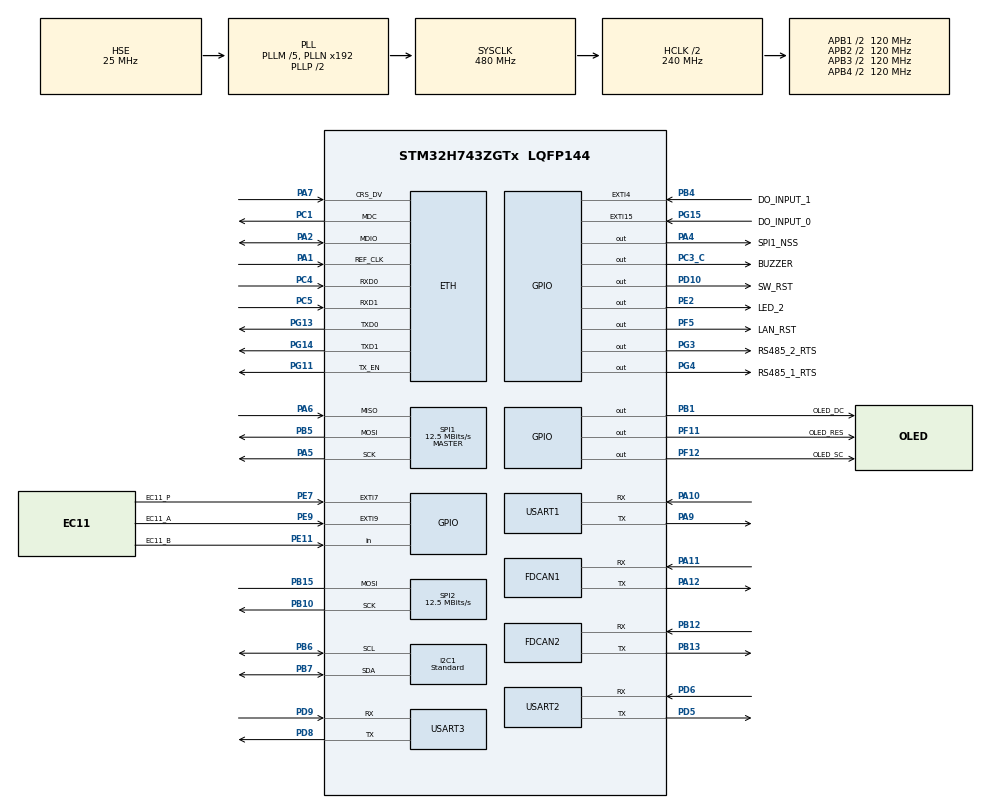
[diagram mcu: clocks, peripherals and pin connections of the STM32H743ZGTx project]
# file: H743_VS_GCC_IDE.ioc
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CORTEX_M7.AccessPermission_S-Cortex_Memory_Protection_Unit_Region1_Settings_S=MPU_REGION_FULL_ACCESS
CORTEX_M7.AccessPermission_S-Cortex_Memory_Protection_Unit_Region2_Settings_S=MPU_REGION_FULL_ACCESS
CORTEX_M7.AccessPermission_S-Cortex_Memory_Protection_Unit_Region3_Settings_S=MPU_REGION_FULL_ACCESS
CORTEX_M7.AccessPermission_S-Cortex_Memory_Protection_Unit_Region4_Settings_S=MPU_REGION_FULL_ACCESS
CORTEX_M7.AccessPermission_Spec=MPU_REGION_FULL_ACCESS
CORTEX_M7.BaseAddress_S-Cortex_Memory_Protection_Unit_Region1_Settings_S=0x30000000
CORTEX_M7.BaseAddress_S-Cortex_Memory_Protection_Unit_Region2_Settings_S=0x30004000
CORTEX_M7.BaseAddress_S-Cortex_Memory_Protection_Unit_Region3_Settings_S=0x38800000
CORTEX_M7.BaseAddress_S-Cortex_Memory_Protection_Unit_Region4_Settings_S=0x38000000
CORTEX_M7.BaseAddress_Spec=0x24000000
CORTEX_M7.CPU_DCache=Enabled
CORTEX_M7.CPU_ICache=Enabled
CORTEX_M7.DisableExec_S-Cortex_Memory_Protection_Unit_Region1_Settings_S=MPU_INSTRUCTION_ACCESS_DISABLE
CORTEX_M7.DisableExec_S-Cortex_Memory_Protection_Unit_Region2_Settings_S=MPU_INSTRUCTION_ACCESS_ENABLE
CORTEX_M7.DisableExec_Spec=MPU_INSTRUCTION_ACCESS_ENABLE
CORTEX_M7.Enable_S-Cortex_Memory_Protection_Unit_Region1_Settings_S=MPU_REGION_ENABLE
CORTEX_M7.Enable_S-Cortex_Memory_Protection_Unit_Region2_Settings_S=MPU_REGION_ENABLE
CORTEX_M7.Enable_S-Cortex_Memory_Protection_Unit_Region3_Settings_S=MPU_REGION_ENABLE
CORTEX_M7.Enable_S-Cortex_Memory_Protection_Unit_Region4_Settings_S=MPU_REGION_ENABLE
CORTEX_M7.Enable_S-Cortex_Memory_Protection_Unit_Region5_Settings_S=__NULL
CORTEX_M7.IsBufferable_S-Cortex_Memory_Protection_Unit_Region1_Settings_S=MPU_ACCESS_BUFFERABLE
CORTEX_M7.IsBufferable_S-Cortex_Memory_Protection_Unit_Region2_Settings_S=MPU_ACCESS_NOT_BUFFERABLE
CORTEX_M7.IsBufferable_S-Cortex_Memory_Protection_Unit_Region4_Settings_S=MPU_ACCESS_NOT_BUFFERABLE
CORTEX_M7.IsBufferable_Spec=MPU_ACCESS_NOT_BUFFERABLE
CORTEX_M7.IsCacheable_S-Cortex_Memory_Protection_Unit_Region2_Settings_S=MPU_ACCESS_CACHEABLE
CORTEX_M7.IsCacheable_S-Cortex_Memory_Protection_Unit_Region4_Settings_S=MPU_ACCESS_CACHEABLE
CORTEX_M7.IsCacheable_Spec=MPU_ACCESS_CACHEABLE
CORTEX_M7.IsShareable_S-Cortex_Memory_Protection_Unit_Region1_Settings_S=MPU_ACCESS_SHAREABLE
CORTEX_M7.IsShareable_S-Cortex_Memory_Protection_Unit_Region2_Settings_S=MPU_ACCESS_NOT_SHAREABLE
CORTEX_M7.IsShareable_S-Cortex_Memory_Protection_Unit_Region4_Settings_S=MPU_ACCESS_SHAREABLE
CORTEX_M7.IsShareable_Spec=MPU_ACCESS_NOT_SHAREABLE
CORTEX_M7.Size_S-Cortex_Memory_Protection_Unit_Region1_Settings_S=MPU_REGION_SIZE_256B
CORTEX_M7.Size_S-Cortex_Memory_Protection_Unit_Region2_Settings_S=MPU_REGION_SIZE_64KB
CORTEX_M7.Size_S-Cortex_Memory_Protection_Unit_Region3_Settings_S=MPU_REGION_SIZE_4KB
CORTEX_M7.Size_S-Cortex_Memory_Protection_Unit_Region4_Settings_S=MPU_REGION_SIZE_64KB
CORTEX_M7.Size_Spec=MPU_REGION_SIZE_512KB
CORTEX_M7.SubRegionDisable_Spec=0x00
CORTEX_M7.TypeExtField_S-Cortex_Memory_Protection_Unit_Region2_Settings_S=MPU_TEX_LEVEL1
CORTEX_M7.default_mode_Activation=1
Dma.I2C1_TX.0.Direction=DMA_MEMORY_TO_PERIPH
Dma.I2C1_TX.0.EventEnable=DISABLE
Dma.I2C1_TX.0.FIFOMode=DMA_FIFOMODE_DISABLE
Dma.I2C1_TX.0.Instance=DMA1_Stream3
Dma.I2C1_TX.0.MemDataAlignment=DMA_MDATAALIGN_BYTE
Dma.I2C1_TX.0.MemInc=DMA_MINC_ENABLE
Dma.I2C1_TX.0.Mode=DMA_NORMAL
Dma.I2C1_TX.0.PeriphDataAlignment=DMA_PDATAALIGN_BYTE
Dma.I2C1_TX.0.PeriphInc=DMA_PINC_DISABLE
Dma.I2C1_TX.0.Polarity=HAL_DMAMUX_REQ_GEN_RISING
Dma.I2C1_TX.0.Priority=DMA_PRIORITY_LOW
Dma.I2C1_TX.0.RequestNumber=1
Dma.I2C1_TX.0.SignalID=NONE
Dma.I2C1_TX.0.SyncEnable=DISABLE
Dma.I2C1_TX.0.SyncPolarity=HAL_DMAMUX_SYNC_NO_EVENT
Dma.I2C1_TX.0.SyncRequestNumber=1
Dma.I2C1_TX.0.SyncSignalID=NONE
Dma.Request0=I2C1_TX
Dma.Request1=USART2_RX
Dma.Request2=USART2_TX
Dma.Request3=USART1_RX
Dma.Request4=USART1_TX
Dma.USART1_RX.3.Direction=DMA_PERIPH_TO_MEMORY
Dma.USART1_RX.3.EventEnable=DISABLE
Dma.USART1_RX.3.FIFOMode=DMA_FIFOMODE_DISABLE
Dma.USART1_RX.3.Instance=DMA1_Stream0
Dma.USART1_RX.3.MemDataAlignment=DMA_MDATAALIGN_BYTE
Dma.USART1_RX.3.MemInc=DMA_MINC_ENABLE
Dma.USART1_RX.3.Mode=DMA_NORMAL
Dma.USART1_RX.3.PeriphDataAlignment=DMA_PDATAALIGN_BYTE
Dma.USART1_RX.3.PeriphInc=DMA_PINC_DISABLE
Dma.USART1_RX.3.Polarity=HAL_DMAMUX_REQ_GEN_RISING
Dma.USART1_RX.3.Priority=DMA_PRIORITY_MEDIUM
Dma.USART1_RX.3.RequestNumber=1
Dma.USART1_RX.3.SignalID=NONE
Dma.USART1_RX.3.SyncEnable=DISABLE
Dma.USART1_RX.3.SyncPolarity=HAL_DMAMUX_SYNC_NO_EVENT
Dma.USART1_RX.3.SyncRequestNumber=1
Dma.USART1_RX.3.SyncSignalID=NONE
Dma.USART1_TX.4.Direction=DMA_MEMORY_TO_PERIPH
Dma.USART1_TX.4.EventEnable=DISABLE
Dma.USART1_TX.4.FIFOMode=DMA_FIFOMODE_DISABLE
Dma.USART1_TX.4.Instance=DMA1_Stream1
Dma.USART1_TX.4.MemDataAlignment=DMA_MDATAALIGN_BYTE
Dma.USART1_TX.4.MemInc=DMA_MINC_ENABLE
Dma.USART1_TX.4.Mode=DMA_NORMAL
Dma.USART1_TX.4.PeriphDataAlignment=DMA_PDATAALIGN_BYTE
Dma.USART1_TX.4.PeriphInc=DMA_PINC_DISABLE
Dma.USART1_TX.4.Polarity=HAL_DMAMUX_REQ_GEN_RISING
Dma.USART1_TX.4.Priority=DMA_PRIORITY_MEDIUM
Dma.USART1_TX.4.RequestNumber=1
Dma.USART1_TX.4.SignalID=NONE
Dma.USART1_TX.4.SyncEnable=DISABLE
Dma.USART1_TX.4.SyncPolarity=HAL_DMAMUX_SYNC_NO_EVENT
Dma.USART1_TX.4.SyncRequestNumber=1
Dma.USART1_TX.4.SyncSignalID=NONE
Dma.USART2_RX.1.Direction=DMA_PERIPH_TO_MEMORY
Dma.USART2_RX.1.EventEnable=DISABLE
Dma.USART2_RX.1.FIFOMode=DMA_FIFOMODE_DISABLE
Dma.USART2_RX.1.Instance=DMA1_Stream4
Dma.USART2_RX.1.MemDataAlignment=DMA_MDATAALIGN_BYTE
Dma.USART2_RX.1.MemInc=DMA_MINC_ENABLE
Dma.USART2_RX.1.Mode=DMA_NORMAL
Dma.USART2_RX.1.PeriphDataAlignment=DMA_PDATAALIGN_BYTE
Dma.USART2_RX.1.PeriphInc=DMA_PINC_DISABLE
Dma.USART2_RX.1.Polarity=HAL_DMAMUX_REQ_GEN_RISING
Dma.USART2_RX.1.Priority=DMA_PRIORITY_LOW
Dma.USART2_RX.1.RequestNumber=1
Dma.USART2_RX.1.SignalID=NONE
Dma.USART2_RX.1.SyncEnable=DISABLE
Dma.USART2_RX.1.SyncPolarity=HAL_DMAMUX_SYNC_NO_EVENT
Dma.USART2_RX.1.SyncRequestNumber=1
Dma.USART2_RX.1.SyncSignalID=NONE
Dma.USART2_TX.2.Direction=DMA_MEMORY_TO_PERIPH
Dma.USART2_TX.2.EventEnable=DISABLE
Dma.USART2_TX.2.FIFOMode=DMA_FIFOMODE_DISABLE
Dma.USART2_TX.2.Instance=DMA1_Stream5
Dma.USART2_TX.2.MemDataAlignment=DMA_MDATAALIGN_BYTE
Dma.USART2_TX.2.MemInc=DMA_MINC_ENABLE
Dma.USART2_TX.2.Mode=DMA_NORMAL
Dma.USART2_TX.2.PeriphDataAlignment=DMA_PDATAALIGN_BYTE
Dma.USART2_TX.2.PeriphInc=DMA_PINC_DISABLE
Dma.USART2_TX.2.Polarity=HAL_DMAMUX_REQ_GEN_RISING
Dma.USART2_TX.2.Priority=DMA_PRIORITY_LOW
Dma.USART2_TX.2.RequestNumber=1
Dma.USART2_TX.2.SignalID=NONE
Dma.USART2_TX.2.SyncEnable=DISABLE
Dma.USART2_TX.2.SyncPolarity=HAL_DMAMUX_SYNC_NO_EVENT
Dma.USART2_TX.2.SyncRequestNumber=1
Dma.USART2_TX.2.SyncSignalID=NONE
ETH.ETH_RX_DESC_CNT=4
ETH.ETH_TX_DESC_CNT=4
ETH.MediaInterface=HAL_ETH_RMII_MODE
ETH.RxBuffLen=1536
ETH.RxBufferAddress=0x30000200
ETH.RxDescAddress=0x30000000
ETH.TxDescAddress=0x30000100
FDCAN1.CalculateBaudRateNominal=500000
FDCAN1.CalculateTimeBitNominal=2000
FDCAN1.CalculateTimeQuantumNominal=50.0
FDCAN1.DataPrescaler=5
FDCAN1.DataTimeSeg1=31
FDCAN1.DataTimeSeg2=8
FDCAN1.NominalPrescaler=5
FDCAN1.NominalTimeSeg1=31
FDCAN1.NominalTimeSeg2=8
FDCAN1.RxFifo0ElmtsNbr=32
FDCAN1.StdFiltersNbr=1
FDCAN1.TxFifoQueueElmtsNbr=16
FDCAN2.CalculateBaudRateNominal=500000
FDCAN2.CalculateTimeBitNominal=2000
FDCAN2.CalculateTimeQuantumNominal=50.0
FDCAN2.DataPrescaler=5
FDCAN2.DataTimeSeg1=31
FDCAN2.DataTimeSeg2=8
FDCAN2.MessageRAMOffset=0x406
FDCAN2.NominalPrescaler=5
FDCAN2.NominalTimeSeg1=31
FDCAN2.NominalTimeSeg2=8
FDCAN2.RxFifo1ElmtsNbr=32
FDCAN2.StdFiltersNbr=1
FDCAN2.TxFifoQueueElmtsNbr=32
FREERTOS.HEAP_NUMBER=4
FREERTOS.Tasks01=defaultTask,24,4096,StartDefaultTask,Default,NULL,Dynamic,NULL,NULL
FREERTOS.configENABLE_FPU=1
FREERTOS.configMINIMAL_STACK_SIZE=1024
FREERTOS.configTIMER_QUEUE_LENGTH=20
FREERTOS.configTIMER_TASK_PRIORITY=24
FREERTOS.configTIMER_TASK_STACK_DEPTH=20480
FREERTOS.configTOTAL_HEAP_SIZE=102400
FREERTOS.configUSE_NEWLIB_REENTRANT=1
FREERTOS.configUSE_TICKLESS_IDLE=1
I2C1.CustomTiming=Disabled
I2C1.I2C_Coeff_DF=10
I2C1.I2C_Fall_Time=20
I2C1.I2C_Rise_Time=20
I2C1.I2C_Speed_Mode=I2C_Standard
I2C1.Timing=0x10D0E0FF
LWIP.BSP.number=1
LWIP.DEFAULT_THREAD_PRIO=28
LWIP.ETH_RX_BUFFER_CNT=128
LWIP.IP_ADDRESS=192.168.001.100
LWIP.LWIP_ALLOW_MEM_FREE_FROM_OTHER_CONTEXT=1
LWIP.LWIP_DHCP=0
LWIP.LWIP_NETCONN_FULLDUPLEX=1
LWIP.LWIP_RAM_HEAP_POINTER=0x30000800
LWIP.MEMP_MEM_INIT=1
LWIP.MEMP_MEM_MALLOC=1
LWIP.MEMP_NUM_PBUF=64
LWIP.MEMP_USE_CUSTOM_POOLS=1
LWIP.MEM_LIBC_MALLOC=1
LWIP.MEM_SIZE=65535
LWIP.NETMASK_ADDRESS=255.255.255.000
LWIP.PBUF_POOL_SIZE=128
LWIP.SLIPIF_THREAD_PRIO=28
LWIP.TCPIP_THREAD_PRIO=32
LWIP.Version=v2.1.2_Cube
LWIP0.BSP.STBoard=false
LWIP0.BSP.api=BSP_COMPONENT_DRIVER
LWIP0.BSP.component=LAN8742
LWIP0.BSP.instance=LAN8742
LWIP0.BSP.name=Driver_PHY
LWIP0.BSP.semaphore=S_LAN8742
LWIP0.BSP.solution=LAN8742
Mcu.Family=STM32H7
Mcu.Name=STM32H743ZGTx
Mcu.Package=LQFP144
NVIC.DMA1_Stream0_IRQn=true\:5\:0\:false\:false\:true\:true\:false\:true\:true
NVIC.DMA1_Stream1_IRQn=true\:5\:0\:false\:false\:true\:true\:false\:true\:true
NVIC.DMA1_Stream3_IRQn=true\:5\:0\:false\:false\:true\:true\:false\:true\:true
NVIC.DMA1_Stream4_IRQn=true\:5\:0\:false\:false\:true\:true\:false\:true\:true
NVIC.DMA1_Stream5_IRQn=true\:5\:0\:false\:false\:true\:true\:false\:true\:true
NVIC.ETH_IRQn=true\:5\:0\:true\:false\:true\:true\:true\:true\:true
NVIC.EXTI15_10_IRQn=true\:5\:0\:false\:false\:true\:true\:true\:true\:true
NVIC.EXTI4_IRQn=true\:5\:0\:false\:false\:true\:true\:true\:true\:true
NVIC.EXTI9_5_IRQn=true\:5\:0\:true\:false\:true\:false\:true\:true\:true
NVIC.FDCAN1_IT0_IRQn=true\:5\:0\:false\:false\:true\:true\:true\:true\:true
NVIC.FDCAN2_IT0_IRQn=true\:5\:0\:false\:false\:true\:true\:true\:true\:true
NVIC.PriorityGroup=NVIC_PRIORITYGROUP_4
NVIC.TIM7_IRQn=true\:15\:0\:false\:false\:true\:false\:false\:true\:true
NVIC.TimeBase=TIM7_IRQn
NVIC.TimeBaseIP=TIM7
NVIC.USART1_IRQn=true\:7\:0\:true\:false\:false\:true\:true\:true\:true
NVIC.USART2_IRQn=true\:5\:0\:true\:false\:true\:true\:true\:true\:true
NVIC.USART3_IRQn=true\:5\:0\:true\:false\:false\:true\:true\:true\:true
PA1.GPIO_Mode=GPIO_MODE_AF_PP
PA1.GPIO_PuPd=GPIO_NOPULL
PA1.GPIO_Speed=GPIO_SPEED_FREQ_VERY_HIGH
PA1.Mode=RMII
PA1.Signal=ETH_REF_CLK
PA10.GPIO_PuPd=GPIO_PULLUP
PA10.GPIO_Speed=GPIO_SPEED_FREQ_HIGH
PA10.Mode=Asynchronous
PA10.Signal=USART1_RX
PA11.Mode=FDCAN_Activate
PA11.Signal=FDCAN1_RX
PA12.Mode=FDCAN_Activate
PA12.Signal=FDCAN1_TX
PA13\ (JTMS/SWDIO).Mode=Serial_Wire
PA13\ (JTMS/SWDIO).Signal=DEBUG_JTMS-SWDIO
PA14\ (JTCK/SWCLK).Mode=Serial_Wire
PA14\ (JTCK/SWCLK).Signal=DEBUG_JTCK-SWCLK
PA2.GPIO_Mode=GPIO_MODE_AF_PP
PA2.GPIO_PuPd=GPIO_NOPULL
PA2.GPIO_Speed=GPIO_SPEED_FREQ_VERY_HIGH
PA2.Mode=RMII
PA2.Signal=ETH_MDIO
PA4.GPIO_Label=SPI1_NSS
PA4.GPIO_Speed=GPIO_SPEED_FREQ_MEDIUM
PA4.Signal=GPIO_Output
PA5.GPIO_Speed=GPIO_SPEED_FREQ_VERY_HIGH
PA5.Mode=Full_Duplex_Master
PA5.Signal=SPI1_SCK
PA6.GPIO_Speed=GPIO_SPEED_FREQ_VERY_HIGH
PA6.Mode=Full_Duplex_Master
PA6.Signal=SPI1_MISO
PA7.GPIO_Mode=GPIO_MODE_AF_PP
PA7.GPIO_PuPd=GPIO_NOPULL
PA7.GPIO_Speed=GPIO_SPEED_FREQ_VERY_HIGH
PA7.Mode=RMII
PA7.Signal=ETH_CRS_DV
PA9.GPIO_PuPd=GPIO_PULLUP
PA9.GPIO_Speed=GPIO_SPEED_FREQ_HIGH
PA9.Mode=Asynchronous
PA9.Signal=USART1_TX
PB1.GPIO_Label=OLED_DC
PB1.Signal=GPIO_Output
PB10.Mode=Simplex_Bidirectional_Master
PB10.Signal=SPI2_SCK
PB12.Mode=FDCAN_Activate
PB12.Signal=FDCAN2_RX
PB13.Mode=FDCAN_Activate
PB13.Signal=FDCAN2_TX
PB15.Mode=Simplex_Bidirectional_Master
PB15.Signal=SPI2_MOSI
PB4\ (NJTRST).GPIO_Label=DO_INPUT_1
PB4\ (NJTRST).Signal=GPXTI4
PB5.GPIO_Speed=GPIO_SPEED_FREQ_VERY_HIGH
PB5.Mode=Full_Duplex_Master
PB5.Signal=SPI1_MOSI
PB6.GPIO_Pu=GPIO_PULLUP
PB6.GPIO_Speed=GPIO_SPEED_FREQ_HIGH
PB6.Mode=I2C
PB6.Signal=I2C1_SCL
PB7.GPIO_Pu=GPIO_PULLUP
PB7.GPIO_Speed=GPIO_SPEED_FREQ_HIGH
PB7.Mode=I2C
PB7.Signal=I2C1_SDA
PC1.GPIO_Mode=GPIO_MODE_AF_PP
PC1.GPIO_PuPd=GPIO_NOPULL
PC1.GPIO_Speed=GPIO_SPEED_FREQ_VERY_HIGH
PC1.Mode=RMII
PC1.Signal=ETH_MDC
PC14-OSC32_IN\ (OSC32_IN).Mode=LSE-External-Oscillator
PC14-OSC32_IN\ (OSC32_IN).Signal=RCC_OSC32_IN
PC15-OSC32_OUT\ (OSC32_OUT).Mode=LSE-External-Oscillator
PC15-OSC32_OUT\ (OSC32_OUT).Signal=RCC_OSC32_OUT
PC3_C.GPIO_Label=BUZZER
PC3_C.GPIO_Speed=GPIO_SPEED_FREQ_HIGH
PC3_C.Signal=GPIO_Output
PC4.GPIO_Mode=GPIO_MODE_AF_PP
PC4.GPIO_PuPd=GPIO_NOPULL
PC4.GPIO_Speed=GPIO_SPEED_FREQ_VERY_HIGH
PC4.Mode=RMII
PC4.Signal=ETH_RXD0
PC5.GPIO_Mode=GPIO_MODE_AF_PP
PC5.GPIO_PuPd=GPIO_NOPULL
PC5.GPIO_Speed=GPIO_SPEED_FREQ_VERY_HIGH
PC5.Mode=RMII
PC5.Signal=ETH_RXD1
PD10.GPIO_Label=SW_RST
PD10.Signal=GPIO_Output
PD5.GPIO_PuPd=GPIO_PULLUP
PD5.GPIO_Speed=GPIO_SPEED_FREQ_HIGH
PD5.Mode=Asynchronous
PD5.Signal=USART2_TX
PD6.GPIO_PuPd=GPIO_PULLUP
PD6.GPIO_Speed=GPIO_SPEED_FREQ_HIGH
PD6.Mode=Asynchronous
PD6.Signal=USART2_RX
PD8.GPIO_PuPd=GPIO_PULLUP
PD8.GPIO_Speed=GPIO_SPEED_FREQ_HIGH
PD8.Mode=Asynchronous
PD8.Signal=USART3_TX
PD9.GPIO_PuPd=GPIO_PULLUP
PD9.GPIO_Speed=GPIO_SPEED_FREQ_HIGH
PD9.Mode=Asynchronous
PD9.Signal=USART3_RX
PE11.GPIO_Label=EC11_B
PE11.Signal=GPIO_Input
PE2.GPIO_Label=LED_2
PE2.GPIO_PuPd=GPIO_PULLUP
PE2.Signal=GPIO_Output
PE7.GPIO_Label=EC11_P
PE7.GPIO_ModeDefaultEXTI=GPIO_MODE_IT_FALLING
PE7.Signal=GPXTI7
PE9.GPIO_Label=EC11_A
PE9.Signal=GPXTI9
PF11.GPIO_Label=OLED_RES
PF11.Signal=GPIO_Output
PF12.GPIO_Label=OLED_SC
PF12.Signal=GPIO_Output
PF5.GPIO_Label=LAN_RST
PF5.GPIO_PuPd=GPIO_NOPULL
PF5.PinState=GPIO_PIN_SET
PF5.Signal=GPIO_Output
PG11.GPIO_Mode=GPIO_MODE_AF_PP
PG11.GPIO_PuPd=GPIO_NOPULL
PG11.GPIO_Speed=GPIO_SPEED_FREQ_VERY_HIGH
PG11.Mode=RMII
PG11.Signal=ETH_TX_EN
PG13.GPIO_Mode=GPIO_MODE_AF_PP
PG13.GPIO_PuPd=GPIO_NOPULL
PG13.GPIO_Speed=GPIO_SPEED_FREQ_VERY_HIGH
PG13.Mode=RMII
PG13.Signal=ETH_TXD0
PG14.GPIO_Mode=GPIO_MODE_AF_PP
PG14.GPIO_PuPd=GPIO_NOPULL
PG14.GPIO_Speed=GPIO_SPEED_FREQ_VERY_HIGH
PG14.Mode=RMII
PG14.Signal=ETH_TXD1
PG15.GPIO_Label=DO_INPUT_0
PG15.GPIO_PuPd=GPIO_PULLDOWN
PG15.Signal=GPXTI15
PG3.GPIO_Label=RS485_2_RTS
PG3.GPIO_ModeDefaultOutputPP=GPIO_MODE_OUTPUT_PP
PG3.GPIO_PuPd=GPIO_PULLDOWN
PG3.GPIO_Speed=GPIO_SPEED_FREQ_MEDIUM
PG3.PinState=GPIO_PIN_SET
PG3.Signal=GPIO_Output
PG4.GPIO_Label=RS485_1_RTS
PG4.GPIO_PuPd=GPIO_PULLDOWN
PG4.GPIO_Speed=GPIO_SPEED_FREQ_MEDIUM
PG4.PinState=GPIO_PIN_SET
PG4.Signal=GPIO_Output
PH0-OSC_IN\ (PH0).Mode=HSE-External-Oscillator
PH0-OSC_IN\ (PH0).Signal=RCC_OSC_IN
PH1-OSC_OUT\ (PH1).Mode=HSE-External-Oscillator
PH1-OSC_OUT\ (PH1).Signal=RCC_OSC_OUT
ProjectManager.HeapSize=0x1200
ProjectManager.StackSize=0x1000
ProjectManager.TargetToolchain=CMake
RCC.ADCFreq_Value=100000000
RCC.APB1Freq_Value=120000000
RCC.APB2Freq_Value=120000000
RCC.APB3Freq_Value=120000000
RCC.APB4Freq_Value=120000000
RCC.CortexFreq_Value=480000000
RCC.D1PPRE=RCC_APB3_DIV2
RCC.D2PPRE1=RCC_APB1_DIV2
RCC.D2PPRE2=RCC_APB2_DIV2
RCC.D3PPRE=RCC_APB4_DIV2
RCC.DIVM1=5
RCC.DIVM2=5
RCC.DIVM3=5
RCC.DIVN1=192
RCC.DIVN2=160
RCC.DIVN3=160
RCC.DIVP2=8
RCC.DIVP3=4
RCC.DIVQ2=8
RCC.DIVR3=8
RCC.FDCANCLockSelection=RCC_FDCANCLKSOURCE_PLL2
RCC.HCLKFreq_Value=240000000
RCC.HPRE=RCC_HCLK_DIV2
RCC.I2C123CLockSelection=RCC_I2C123CLKSOURCE_PLL3
RCC.PLLSourceVirtual=RCC_PLLSOURCE_HSE
RCC.RTCClockSelection=RCC_RTCCLKSOURCE_LSE
RCC.SPI123CLockSelection=RCC_SPI123CLKSOURCE_PLL3
RCC.SYSCLKFreq_VALUE=480000000
RCC.SYSCLKSource=RCC_SYSCLKSOURCE_PLLCLK
RCC.USBFreq_Value=480000000
RTC.Format=RTC_FORMAT_BCD
RTC.Year=25
SPI1.BaudRatePrescaler=SPI_BAUDRATEPRESCALER_16
SPI1.CLKPhase=SPI_PHASE_1EDGE
SPI1.CLKPolarity=SPI_POLARITY_LOW
SPI1.CalculateBaudRate=12.5 MBits/s
SPI1.DataSize=SPI_DATASIZE_8BIT
SPI1.Direction=SPI_DIRECTION_2LINES
SPI1.FirstBit=SPI_FIRSTBIT_MSB
SPI1.Mode=SPI_MODE_MASTER
SPI1.VirtualType=VM_MASTER
SPI2.BaudRatePrescaler=SPI_BAUDRATEPRESCALER_16
SPI2.CLKPhase=SPI_PHASE_2EDGE
SPI2.CLKPolarity=SPI_POLARITY_HIGH
SPI2.CalculateBaudRate=12.5 MBits/s
SPI2.DataSize=SPI_DATASIZE_8BIT
SPI2.Direction=SPI_DIRECTION_1LINE
SPI2.Mode=SPI_MODE_MASTER
SPI2.VirtualType=VM_MASTER
USART1.VirtualMode-Asynchronous=VM_ASYNC
USART2.VirtualMode-Asynchronous=VM_ASYNC
USART3.VirtualMode-Asynchronous=VM_ASYNC
VP_FREERTOS_VS_CMSIS_V2.Mode=CMSIS_V2
VP_LWIP_VS_Enabled.Mode=Enabled
VP_MEMORYMAP_VS_MEMORYMAP.Mode=CurAppReg
VP_RTC_VS_RTC_Activate.Mode=RTC_Enabled
VP_RTC_VS_RTC_Calendar.Mode=RTC_Calendar
VP_SYS_VS_tim7.Mode=TIM7
board=custom

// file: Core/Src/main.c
/* USER CODE BEGIN Header */
/**
  ******************************************************************************
  * @file           : main.c
  * @brief          : Main program body
  ******************************************************************************
  * @attention
  *
  * Copyright (c) 2026 STMicroelectronics.
  * All rights reserved.
  *
  * This software is licensed under terms that can be found in the LICENSE file
  * in the root directory of this software component.
  * If no LICENSE file comes with this software, it is provided AS-IS.
  *
  ******************************************************************************
  */
/* USER CODE END Header */
#include "main.h"
#include "cmsis_os2.h"
#include "dma.h"
#include "fdcan.h"
#include "i2c.h"
#include "lwip.h"
#include "rtc.h"
#include "spi.h"
#include "usart.h"
#include "gpio.h"

void SystemClock_Config(void);
void PeriphCommonClock_Config(void);
static void MPU_Config(void);
void MX_FREERTOS_Init(void);

int main(void)
{

  /* MPU Configuration--------------------------------------------------------*/
  MPU_Config();

  /* Enable the CPU Cache */

  /* Enable I-Cache---------------------------------------------------------*/
  SCB_EnableICache();

  /* Enable D-Cache---------------------------------------------------------*/
  SCB_EnableDCache();

  /* MCU Configuration--------------------------------------------------------*/

  /* Reset of all peripherals, Initializes the Flash interface and the Systick. */
  HAL_Init();

  /* Configure the system clock */
  SystemClock_Config();

  /* Configure the peripherals common clocks */
  PeriphCommonClock_Config();

  /* Initialize all configured peripherals */
  MX_GPIO_Init();
  MX_DMA_Init();
  MX_FDCAN1_Init();
  MX_FDCAN2_Init();
  MX_I2C1_Init();
  MX_RTC_Init();
  MX_SPI1_Init();
  MX_USART1_UART_Init();
  MX_USART3_UART_Init();
  MX_USART2_UART_Init();
  MX_SPI2_Init();

  /* Init scheduler */
  osKernelInitialize();  /* Call init function for freertos objects (in cmsis_os2.c) */
  MX_FREERTOS_Init();

  /* Start scheduler */
  osKernelStart();

  /* We should never get here as control is now taken by the scheduler */

  /* Infinite loop */
  while (1)
  {

  }
}

void SystemClock_Config(void)
{
  RCC_OscInitTypeDef RCC_OscInitStruct = {0};
  RCC_ClkInitTypeDef RCC_ClkInitStruct = {0};

  /** Supply configuration update enable
  */
  HAL_PWREx_ConfigSupply(PWR_LDO_SUPPLY);

  /** Configure the main internal regulator output voltage
  */
  __HAL_PWR_VOLTAGESCALING_CONFIG(PWR_REGULATOR_VOLTAGE_SCALE0);

  while(!__HAL_PWR_GET_FLAG(PWR_FLAG_VOSRDY)) {}

  /** Configure LSE Drive Capability
  */
  HAL_PWR_EnableBkUpAccess();
  __HAL_RCC_LSEDRIVE_CONFIG(RCC_LSEDRIVE_LOW);

  /** Initializes the RCC Oscillators according to the specified parameters
  * in the RCC_OscInitTypeDef structure.
  */
  RCC_OscInitStruct.OscillatorType = RCC_OSCILLATORTYPE_HSE|RCC_OSCILLATORTYPE_LSE;
  RCC_OscInitStruct.HSEState = RCC_HSE_ON;
  RCC_OscInitStruct.LSEState = RCC_LSE_ON;
  RCC_OscInitStruct.PLL.PLLState = RCC_PLL_ON;
  RCC_OscInitStruct.PLL.PLLSource = RCC_PLLSOURCE_HSE;
  RCC_OscInitStruct.PLL.PLLM = 5;
  RCC_OscInitStruct.PLL.PLLN = 192;
  RCC_OscInitStruct.PLL.PLLP = 2;
  RCC_OscInitStruct.PLL.PLLQ = 2;
  RCC_OscInitStruct.PLL.PLLR = 2;
  RCC_OscInitStruct.PLL.PLLRGE = RCC_PLL1VCIRANGE_2;
  RCC_OscInitStruct.PLL.PLLVCOSEL = RCC_PLL1VCOWIDE;
  RCC_OscInitStruct.PLL.PLLFRACN = 0;
  if (HAL_RCC_OscConfig(&RCC_OscInitStruct) != HAL_OK)
  {
    Error_Handler();
  }

  /** Initializes the CPU, AHB and APB buses clocks
  */
  RCC_ClkInitStruct.ClockType = RCC_CLOCKTYPE_HCLK|RCC_CLOCKTYPE_SYSCLK
                              |RCC_CLOCKTYPE_PCLK1|RCC_CLOCKTYPE_PCLK2
                              |RCC_CLOCKTYPE_D3PCLK1|RCC_CLOCKTYPE_D1PCLK1;
  RCC_ClkInitStruct.SYSCLKSource = RCC_SYSCLKSOURCE_PLLCLK;
  RCC_ClkInitStruct.SYSCLKDivider = RCC_SYSCLK_DIV1;
  RCC_ClkInitStruct.AHBCLKDivider = RCC_HCLK_DIV2;
  RCC_ClkInitStruct.APB3CLKDivider = RCC_APB3_DIV2;
  RCC_ClkInitStruct.APB1CLKDivider = RCC_APB1_DIV2;
  RCC_ClkInitStruct.APB2CLKDivider = RCC_APB2_DIV2;
  RCC_ClkInitStruct.APB4CLKDivider = RCC_APB4_DIV2;

  if (HAL_RCC_ClockConfig(&RCC_ClkInitStruct, FLASH_LATENCY_4) != HAL_OK)
  {
    Error_Handler();
  }
}

void PeriphCommonClock_Config(void)
{
  RCC_PeriphCLKInitTypeDef PeriphClkInitStruct = {0};

  /** Initializes the peripherals clock
  */
  PeriphClkInitStruct.PeriphClockSelection = RCC_PERIPHCLK_I2C1|RCC_PERIPHCLK_SPI2
                              |RCC_PERIPHCLK_SPI1|RCC_PERIPHCLK_FDCAN;
  PeriphClkInitStruct.PLL2.PLL2M = 5;
  PeriphClkInitStruct.PLL2.PLL2N = 160;
  PeriphClkInitStruct.PLL2.PLL2P = 8;
  PeriphClkInitStruct.PLL2.PLL2Q = 8;
  PeriphClkInitStruct.PLL2.PLL2R = 2;
  PeriphClkInitStruct.PLL2.PLL2RGE = RCC_PLL2VCIRANGE_2;
  PeriphClkInitStruct.PLL2.PLL2VCOSEL = RCC_PLL2VCOWIDE;
  PeriphClkInitStruct.PLL2.PLL2FRACN = 0;
  PeriphClkInitStruct.PLL3.PLL3M = 5;
  PeriphClkInitStruct.PLL3.PLL3N = 160;
  PeriphClkInitStruct.PLL3.PLL3P = 4;
  PeriphClkInitStruct.PLL3.PLL3Q = 2;
  PeriphClkInitStruct.PLL3.PLL3R = 8;
  PeriphClkInitStruct.PLL3.PLL3RGE = RCC_PLL3VCIRANGE_2;
  PeriphClkInitStruct.PLL3.PLL3VCOSEL = RCC_PLL3VCOWIDE;
  PeriphClkInitStruct.PLL3.PLL3FRACN = 0;
  PeriphClkInitStruct.Spi123ClockSelection = RCC_SPI123CLKSOURCE_PLL3;
  PeriphClkInitStruct.FdcanClockSelection = RCC_FDCANCLKSOURCE_PLL2;
  PeriphClkInitStruct.I2c123ClockSelection = RCC_I2C123CLKSOURCE_PLL3;
  if (HAL_RCCEx_PeriphCLKConfig(&PeriphClkInitStruct) != HAL_OK)
  {
    Error_Handler();
  }
}

 /* MPU Configuration */

void MPU_Config(void)
{
  MPU_Region_InitTypeDef MPU_InitStruct = {0};

  /* Disables the MPU */
  HAL_MPU_Disable();

  /** Initializes and configures the Region and the memory to be protected
  */
  MPU_InitStruct.Enable = MPU_REGION_ENABLE;
  MPU_InitStruct.Number = MPU_REGION_NUMBER0;
  MPU_InitStruct.BaseAddress = 0x24000000;
  MPU_InitStruct.Size = MPU_REGION_SIZE_512KB;
  MPU_InitStruct.SubRegionDisable = 0x00;
  MPU_InitStruct.TypeExtField = MPU_TEX_LEVEL0;
  MPU_InitStruct.AccessPermission = MPU_REGION_FULL_ACCESS;
  MPU_InitStruct.DisableExec = MPU_INSTRUCTION_ACCESS_ENABLE;
  MPU_InitStruct.IsShareable = MPU_ACCESS_NOT_SHAREABLE;
  MPU_InitStruct.IsCacheable = MPU_ACCESS_CACHEABLE;
  MPU_InitStruct.IsBufferable = MPU_ACCESS_NOT_BUFFERABLE;

  HAL_MPU_ConfigRegion(&MPU_InitStruct);

  /** Initializes and configures the Region and the memory to be protected
  */
  MPU_InitStruct.Number = MPU_REGION_NUMBER1;
  MPU_InitStruct.BaseAddress = 0x30000000;
  MPU_InitStruct.Size = MPU_REGION_SIZE_256B;
  MPU_InitStruct.SubRegionDisable = 0x0;
  MPU_InitStruct.DisableExec = MPU_INSTRUCTION_ACCESS_DISABLE;
  MPU_InitStruct.IsShareable = MPU_ACCESS_SHAREABLE;
  MPU_InitStruct.IsCacheable = MPU_ACCESS_NOT_CACHEABLE;
  MPU_InitStruct.IsBufferable = MPU_ACCESS_BUFFERABLE;

  HAL_MPU_ConfigRegion(&MPU_InitStruct);

  /** Initializes and configures the Region and the memory to be protected
  */
  MPU_InitStruct.Number = MPU_REGION_NUMBER2;
  MPU_InitStruct.BaseAddress = 0x30004000;
  MPU_InitStruct.Size = MPU_REGION_SIZE_64KB;
  MPU_InitStruct.TypeExtField = MPU_TEX_LEVEL1;
  MPU_InitStruct.DisableExec = MPU_INSTRUCTION_ACCESS_ENABLE;
  MPU_InitStruct.IsShareable = MPU_ACCESS_NOT_SHAREABLE;
  MPU_InitStruct.IsCacheable = MPU_ACCESS_CACHEABLE;
  MPU_InitStruct.IsBufferable = MPU_ACCESS_NOT_BUFFERABLE;

  HAL_MPU_ConfigRegion(&MPU_InitStruct);

  /** Initializes and configures the Region and the memory to be protected
  */
  MPU_InitStruct.Number = MPU_REGION_NUMBER3;
  MPU_InitStruct.BaseAddress = 0x38800000;
  MPU_InitStruct.Size = MPU_REGION_SIZE_4KB;
  MPU_InitStruct.TypeExtField = MPU_TEX_LEVEL0;
  MPU_InitStruct.IsCacheable = MPU_ACCESS_NOT_CACHEABLE;

  HAL_MPU_ConfigRegion(&MPU_InitStruct);

  /** Initializes and configures the Region and the memory to be protected
  */
  MPU_InitStruct.Number = MPU_REGION_NUMBER4;
  MPU_InitStruct.BaseAddress = 0x38000000;
  MPU_InitStruct.Size = MPU_REGION_SIZE_64KB;
  MPU_InitStruct.IsShareable = MPU_ACCESS_SHAREABLE;
  MPU_InitStruct.IsCacheable = MPU_ACCESS_CACHEABLE;

  HAL_MPU_ConfigRegion(&MPU_InitStruct);
  /* Enables the MPU */
  HAL_MPU_Enable(MPU_PRIVILEGED_DEFAULT);

}

void HAL_TIM_PeriodElapsedCallback(TIM_HandleTypeDef *htim)
{
  if (htim->Instance == TIM7)
  {
    HAL_IncTick();
  }
}

void Error_Handler(void)
{
  __disable_irq();
  while (1)
  {
  }
}

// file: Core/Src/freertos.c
/* USER CODE BEGIN Header */
/**
 ******************************************************************************
 * File Name          : freertos.c
 * Description        : Code for freertos applications
 ******************************************************************************
 * @attention
 *
 * Copyright (c) 2026 STMicroelectronics.
 * All rights reserved.
 *
 * This software is licensed under terms that can be found in the LICENSE file
 * in the root directory of this software component.
 * If no LICENSE file comes with this software, it is provided AS-IS.
 *
 ******************************************************************************
 */
/* USER CODE END Header */

#include "FreeRTOS.h"
#include "task.h"
#include "main.h"
#include "cmsis_os.h"

/* USER CODE BEGIN Includes */
#include "u8g2.h"
#include "oled_u8g2.h"
#include "sht40.h"
#include "rtc_clock.h"
#include "stdio.h"
#include "string.h"
#include "oled_page.h"
#include "oled_task.h"
#include "bsp_fdcan.h"
#include "buzzer.h"
#include "mbif.h"
#include "running_logic.h"
#include "syncif.h"
#include "net_comm_task.h"
/* USER CODE END Includes */
#include "flashdb.h"// FlashDB 头文件
#include "fal.h"

/* Definitions for defaultTask */
osThreadId_t defaultTaskHandle;
const osThreadAttr_t defaultTask_attributes = {
  .name = "defaultTask",
  .stack_size = 4096 * 4,
  .priority = (osPriority_t) osPriorityNormal,
};

/* USER CODE BEGIN FunctionPrototypes */
osThreadId_t udpTaskHandle;
const osThreadAttr_t udpTask_attributes = {
  .name = "udpTask",
  .stack_size = 1024 * 4,     // 足够跑 UDP + JSON
  .priority = (osPriority_t) osPriorityAboveNormal,  // 比普通任务高
};

osThreadId_t tcpTaskHandle;
const osThreadAttr_t tcpTask_attributes = {
  .name = "tcpTask",
  .stack_size = 1024 * 4,     // TCP + JSON 必须足够栈
  .priority = (osPriority_t) osPriorityAboveNormal,
};

// TCP 配网服务端任务配置（TCP 9530）
osThreadId_t tcpConfigTaskHandle;
const osThreadAttr_t tcpConfigTask_attributes = {
  .name = "tcpConfigTask",        // 任务名，唯一不重复
  .stack_size = 1024 * 4,         // 栈大小：4K（足够TCP+JSON解析）
  .priority = (osPriority_t) osPriorityAboveNormal,  // 优先级同TCP任务
};

void StartUDPDiscoverTask(void *argument);
void StartTCPClientTask(void *argument);

/* USER CODE END FunctionPrototypes */

void StartDefaultTask(void *argument);

extern void MX_LWIP_Init(void);
void MX_FREERTOS_Init(void); /* (MISRA C 2004 rule 8.1) */

/* USER CODE BEGIN PREPOSTSLEEP */
__weak void PreSleepProcessing(uint32_t ulExpectedIdleTime)
{
  /* place for user code */
}

__weak void PostSleepProcessing(uint32_t ulExpectedIdleTime)
{
  /* place for user code */
}
/* USER CODE END PREPOSTSLEEP */

void MX_FREERTOS_Init(void) {
  /* USER CODE BEGIN Init */
	init_sys_db();//void syncif_task(void *argument)任务里的已经注释掉
  // 读取配网参数（必须放在init_sys_db()之后）
  net_config_init();
  /* USER CODE END Init */

  /* Create the thread(s) */
  /* creation of defaultTask */
  defaultTaskHandle = osThreadNew(StartDefaultTask, NULL, &defaultTask_attributes);

  udpTaskHandle = osThreadNew(udp_discover_task, NULL, &udpTask_attributes);
  tcpConfigTaskHandle = osThreadNew(tcp_config_server_task, NULL, &tcpConfigTask_attributes);
  tcpTaskHandle = osThreadNew(tcp_client_task, NULL, &tcpTask_attributes);

}

void StartDefaultTask(void *argument)
{
  /* init code for LWIP */
  MX_LWIP_Init();
  /* USER CODE BEGIN StartDefaultTask */
  OLED_Task_Init();
  MsgQueue_Init();
  start_buzz_task();

  buzz_contral(BUZZ_LONG);
  fdcan1.rx_Filter_Init();
  fdcan1.rx_Interrupt_Init();
  fdcan1.start();
  fdcan2.rx_Filter_Init();
  fdcan2.rx_Interrupt_Init();
  fdcan2.start();
  /**
   * 初始化系统状态，阀体归零
   */
  init_sys_status();

  start_syncif_task();
  start_mbif_task();

  start_injector_task();

  /* Infinite loop */
  for (;;)
  {
     vTaskDelay(500);
  }
  /* USER CODE END StartDefaultTask */
}

/* USER CODE BEGIN Application */
void StartUDPDiscoverTask(void *argument)
{
  udp_discover_task(argument);
}

void StartTCPClientTask(void *argument)
{
  tcp_client_task(argument);
}
/* USER CODE END Application */
